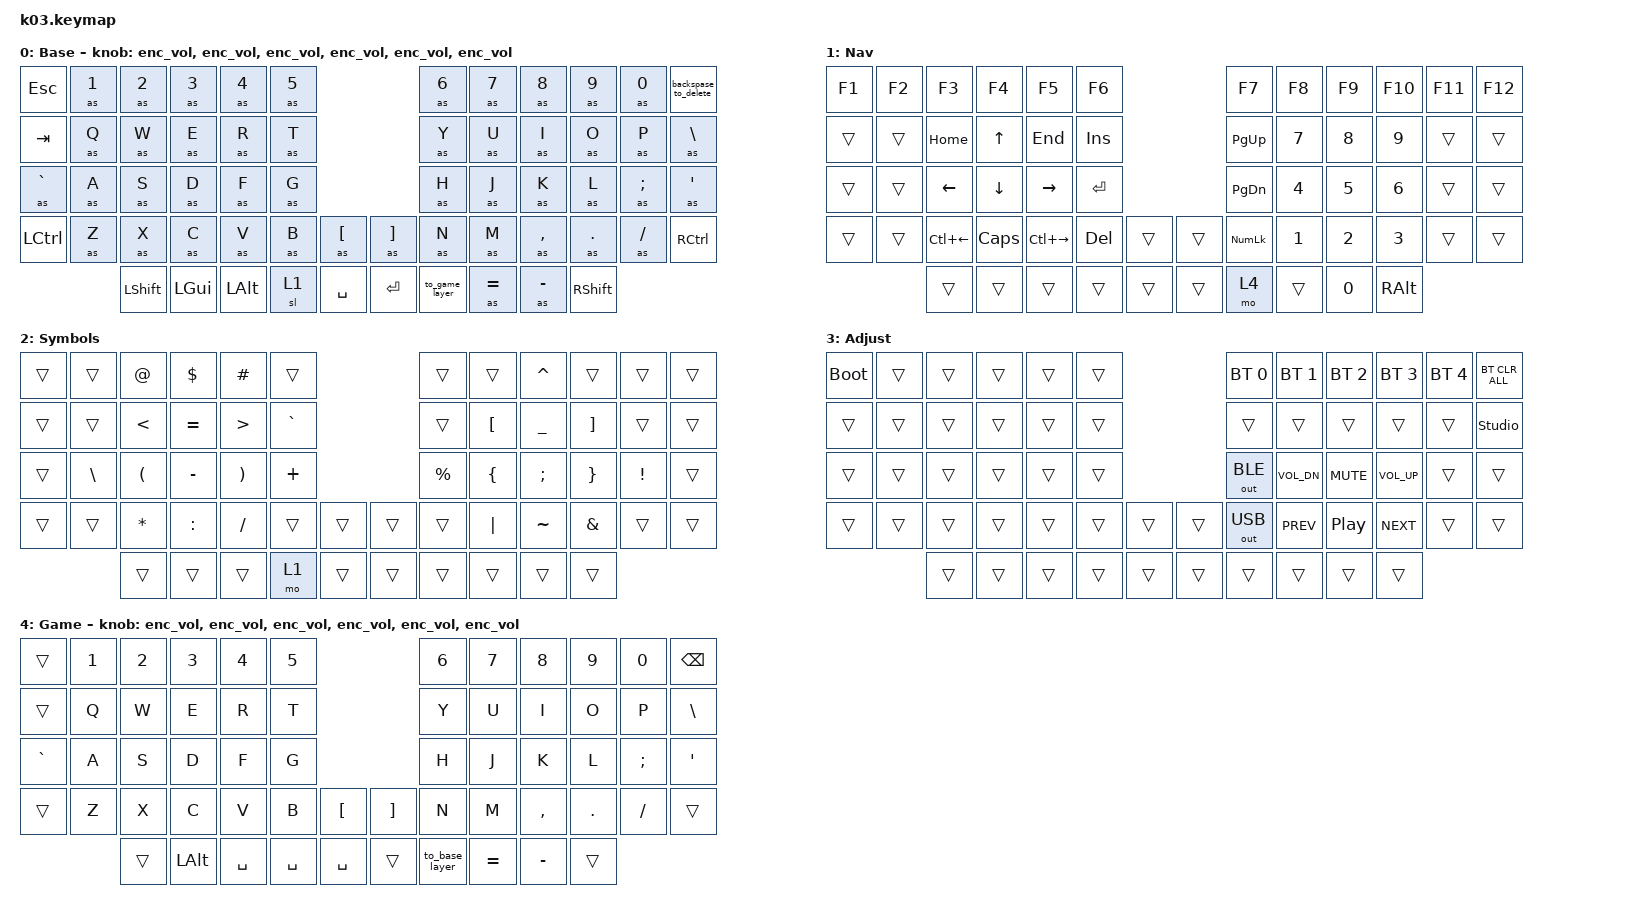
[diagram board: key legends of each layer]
#include "keys_ru.h"
#include <behaviors.dtsi>
#include <dt-bindings/zmk/bt.h>
#include <dt-bindings/zmk/ext_power.h>
#include <dt-bindings/zmk/keys.h>
#include <dt-bindings/zmk/outputs.h>

&sl { release-after-ms = <3000>; };

/ {
    behaviors {
        enc_vol: enc_vol {
            compatible = "zmk,behavior-sensor-rotate";
            label = "ENC_VOL";
            #sensor-binding-cells = <0>;
            bindings = <&kp C_VOL_UP>, <&kp C_VOL_DN>;
        };

        as_ht: autoshift_hold_tap {
            compatible = "zmk,behavior-hold-tap";
            label = "AUTOSHIFT_HOLD_TAP";
            #binding-cells = <2>;
            tapping-term-ms = <200>;
            bindings = <&shifted>, <&kp>;
        };

        backspase_to_delete: backspase_to_delete {
            compatible = "zmk,behavior-mod-morph";
            label = "BACKSPASE_TO_DELETE";
            bindings = <&kp BACKSPACE>, <&kp DELETE>;

            #binding-cells = <0>;
            mods = <(MOD_LCTL)>;
        };

        to_game_layer: to_game_layer {
            compatible = "zmk,behavior-mod-morph";
            label = "TO_GAME_LAYER";
            bindings = <&sl 1>, <&tog 4>;

            #binding-cells = <0>;
            mods = <(MOD_LCTL)>;
        };

        to_base_layer: to_base_layer {
            compatible = "zmk,behavior-mod-morph";
            label = "TO_BASE_LAYER";
            bindings = <&kp ENTER>, <&to 0>;

            #binding-cells = <0>;
            mods = <(MOD_LCTL)>;
        };

        to_adj_layout: to_adj_layout {
            compatible = "zmk,behavior-mod-morph";
            label = "TO_ADJ_LAYOUT";
            bindings = <&mo 1>, <&sl 4>;

            #binding-cells = <0>;
            mods = <(MOD_RCTL)>;
        };
    };

    combos { compatible = "zmk,combos"; };

    macros {
        shifted: macro_shifted_kp {
            #binding-cells = <1>;
            label = "MACRO_SHIFTED_KP";
            compatible = "zmk,behavior-macro-one-param";
            bindings =
                <&macro_press>,
                <&kp LSHFT &macro_param_1to1>,
                <&macro_tap>,
                <&kp MACRO_PLACEHOLDER>,
                <&macro_release>,
                <&kp LSHFT>;
        };

        as: autoshift {
            compatible = "zmk,behavior-macro-one-param";
            #binding-cells = <1>;
            label = "AUTOSHIFT_KP";
            bindings =
                <&macro_press>,
                <&macro_param_1to1 &macro_param_1to2 &as_ht MACRO_PLACEHOLDER MACRO_PLACEHOLDER>,
                <&macro_pause_for_release>,
                <&macro_release>,
                <&macro_param_1to1 &macro_param_1to2 &as_ht MACRO_PLACEHOLDER MACRO_PLACEHOLDER>;
        };
    };

    keymap {
        compatible = "zmk,keymap";

        base {
            bindings = <
&kp ESC    &as N1  &as N2      &as N3        &as N4        &as N5                          &as N6          &as N7     &as N8     &as N9      &as N0    &backspase_to_delete
&kp TAB    &as Q   &as W       &as E         &as R         &as T                           &as Y           &as U      &as I      &as O       &as P     &as BSLH
&as GRAVE  &as A   &as S       &as D         &as F         &as G                           &as H           &as J      &as K      &as L       &as SEMI  &as SQT
&kp LCTRL  &as Z   &as X       &as C         &as V         &as B   &as LBKT     &as RBKT   &as N           &as M      &as COMMA  &as DOT     &as FSLH  &kp RCTRL
                   &kp LSHIFT  &kp LEFT_GUI  &kp LEFT_ALT  &sl 1   &kp SPACE    &kp ENTER  &to_game_layer  &as EQUAL  &as MINUS  &kp RSHIFT
            >;

            display-name = "Base";
            sensor-bindings =
                <&enc_vol>,
                <&enc_vol>,
                <&enc_vol>,
                <&enc_vol>,
                <&enc_vol>,
                <&enc_vol>;
        };

        nav {
            bindings = <
&kp F1  &kp F2  &kp F3        &kp F4    &kp F5         &kp F6                     &kp F7      &kp F8  &kp F9  &kp F10        &kp F11  &kp F12
&trans  &trans  &kp HOME      &kp UP    &kp END        &kp INS                    &kp PG_UP   &kp N7  &kp N8  &kp N9         &trans   &trans
&trans  &trans  &kp LEFT      &kp DOWN  &kp RIGHT      &kp RET                    &kp PG_DN   &kp N4  &kp N5  &kp N6         &trans   &trans
&trans  &trans  &kp LC(LEFT)  &kp CAPS  &kp LC(RIGHT)  &kp DEL  &trans    &trans  &kp KP_NUM  &kp N1  &kp N2  &kp N3         &trans   &trans
                &trans        &trans    &trans         &trans   &trans    &trans  &mo 4       &trans  &kp N0  &kp RIGHT_ALT
            >;

            display-name = "Nav";
        };

        sym {
            bindings = <
&trans  &trans    &kp AT    &kp DLLR   &kp HASH  &trans                       &trans     &trans    &kp CARET  &trans    &trans    &trans
&trans  &trans    &kp LT    &kp EQUAL  &kp GT    &kp GRAVE                    &trans     &kp LBKT  &kp UNDER  &kp RBKT  &trans    &trans
&trans  &kp BSLH  &kp LPAR  &kp MINUS  &kp RPAR  &kp PLUS                     &kp PRCNT  &kp LBRC  &kp SEMI   &kp RBRC  &kp EXCL  &trans
&trans  &trans    &kp STAR  &kp COLON  &kp FSLH  &trans     &trans    &trans  &trans     &kp PIPE  &kp TILDE  &kp AMPS  &trans    &trans
                  &trans    &trans     &trans    &mo 1      &trans    &trans  &trans     &trans    &trans     &trans
            >;

            display-name = "Symbols";
        };

        adj {
            bindings = <
&bootloader  &trans  &trans  &trans  &trans  &trans                    &bt BT_SEL 0  &bt BT_SEL 1  &bt BT_SEL 2      &bt BT_SEL 3  &bt BT_SEL 4  &bt BT_CLR_ALL
&trans       &trans  &trans  &trans  &trans  &trans                    &trans        &trans        &trans            &trans        &trans        &studio_unlock
&trans       &trans  &trans  &trans  &trans  &trans                    &out OUT_BLE  &kp C_VOL_DN  &kp C_MUTE        &kp C_VOL_UP  &trans        &trans
&trans       &trans  &trans  &trans  &trans  &trans  &trans    &trans  &out OUT_USB  &kp C_PREV    &kp C_PLAY_PAUSE  &kp C_NEXT    &trans        &trans
                     &trans  &trans  &trans  &trans  &trans    &trans  &trans        &trans        &trans            &trans
            >;

            display-name = "Adjust";
        };

        game {
            display-name = "Game";
            bindings = <
&trans     &kp N1  &kp N2  &kp N3        &kp N4     &kp N5                            &kp N6          &kp N7     &kp N8     &kp N9   &kp N0    &kp BSPC
&trans     &kp Q   &kp W   &kp E         &kp R      &kp T                             &kp Y           &kp U      &kp I      &kp O    &kp P     &kp BSLH
&kp GRAVE  &kp A   &kp S   &kp D         &kp F      &kp G                             &kp H           &kp J      &kp K      &kp L    &kp SEMI  &kp SQT
&trans     &kp Z   &kp X   &kp C         &kp V      &kp B      &kp LBKT     &kp RBKT  &kp N           &kp M      &kp COMMA  &kp DOT  &kp FSLH  &trans
                   &trans  &kp LEFT_ALT  &kp SPACE  &kp SPACE  &kp SPACE    &trans    &to_base_layer  &kp EQUAL  &kp MINUS  &trans
            >;

            sensor-bindings =
                <&enc_vol>,
                <&enc_vol>,
                <&enc_vol>,
                <&enc_vol>,
                <&enc_vol>,
                <&enc_vol>;
        };
    };
};
